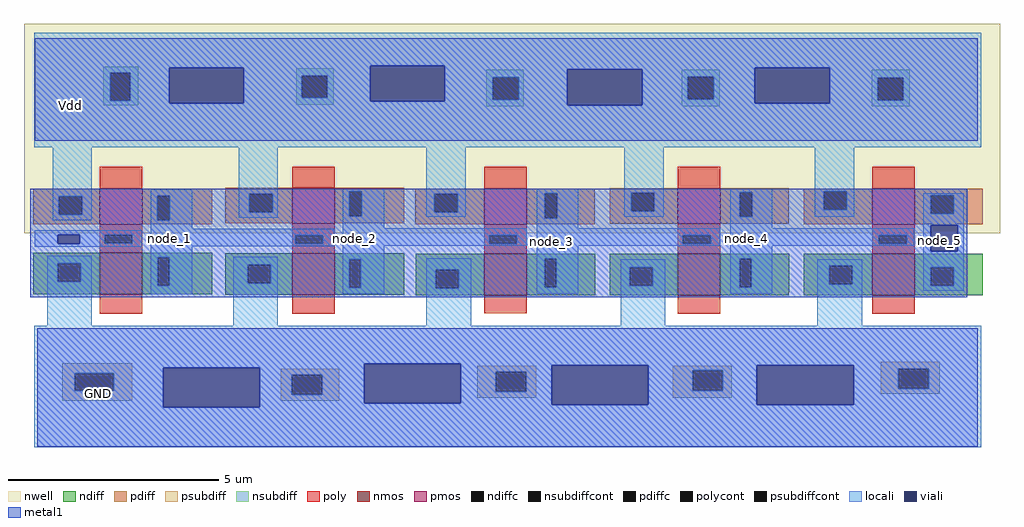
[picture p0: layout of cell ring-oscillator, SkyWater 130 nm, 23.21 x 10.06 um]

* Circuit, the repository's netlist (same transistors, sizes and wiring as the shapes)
* NGSPICE file created from ring-oscillator.ext - technology: sky130A


* Top level circuit ring-oscillator

X0 node_4 node_3 Vdd Vdd sky130_fd_pr__pfet_01v8 w=840000u l=1.01e+06u
X1 node_1 node_5 GND GND sky130_fd_pr__nfet_01v8 w=990000u l=1.01e+06u
X2 node_2 node_1 GND GND sky130_fd_pr__nfet_01v8 w=990000u l=1.01e+06u
X3 node_5 node_4 Vdd Vdd sky130_fd_pr__pfet_01v8 w=840000u l=1.01e+06u
X4 node_3 node_2 Vdd Vdd sky130_fd_pr__pfet_01v8 w=840000u l=1.01e+06u
X5 node_4 node_3 GND GND sky130_fd_pr__nfet_01v8 w=990000u l=1.01e+06u
X6 node_5 node_4 GND GND sky130_fd_pr__nfet_01v8 w=990000u l=1.01e+06u
X7 node_3 node_2 GND GND sky130_fd_pr__nfet_01v8 w=990000u l=1.01e+06u
X8 node_2 node_1 Vdd Vdd sky130_fd_pr__pfet_01v8 w=840000u l=1.01e+06u
X9 node_1 node_5 Vdd Vdd sky130_fd_pr__pfet_01v8 w=840000u l=1.01e+06u
.end

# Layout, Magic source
magic
tech sky130A
<< nwell >>
rect 271 410 2592 908
<< nmos >>
rect 451 265 552 364
rect 909 264 1010 363
rect 1365 263 1466 362
rect 1826 263 1927 362
rect 2288 263 2389 362
<< pmos >>
rect 451 432 552 516
rect 909 434 1010 518
rect 1365 432 1466 516
rect 1826 433 1927 517
rect 2288 432 2389 516
<< ndiff >>
rect 293 339 451 364
rect 293 295 351 339
rect 406 295 451 339
rect 293 265 451 295
rect 552 353 719 364
rect 552 285 589 353
rect 617 285 719 353
rect 552 265 719 285
rect 749 336 909 363
rect 749 292 803 336
rect 858 292 909 336
rect 749 264 909 292
rect 1010 349 1175 363
rect 1010 281 1044 349
rect 1072 281 1175 349
rect 1010 264 1175 281
rect 1203 324 1365 362
rect 1203 280 1250 324
rect 1305 280 1365 324
rect 1203 263 1365 280
rect 1466 350 1629 362
rect 1466 282 1509 350
rect 1537 282 1629 350
rect 1466 263 1629 282
rect 1664 330 1826 362
rect 1664 286 1711 330
rect 1766 286 1826 330
rect 1664 263 1826 286
rect 1927 350 2091 362
rect 1927 282 1973 350
rect 2001 282 2091 350
rect 1927 270 2091 282
rect 2125 333 2288 362
rect 2125 289 2186 333
rect 2241 289 2288 333
rect 1927 263 2090 270
rect 2125 263 2288 289
rect 2389 330 2551 362
rect 2389 286 2427 330
rect 2482 286 2551 330
rect 2389 263 2551 286
<< pdiff >>
rect 293 498 451 516
rect 293 454 354 498
rect 409 454 451 498
rect 293 432 451 454
rect 552 500 719 516
rect 552 441 588 500
rect 618 441 719 500
rect 552 432 719 441
rect 749 504 909 518
rect 749 460 807 504
rect 862 460 909 504
rect 749 434 909 460
rect 1010 510 1175 518
rect 1010 451 1044 510
rect 1074 451 1175 510
rect 1010 434 1175 451
rect 1202 504 1365 516
rect 1202 460 1247 504
rect 1302 460 1365 504
rect 1202 432 1365 460
rect 1466 505 1628 516
rect 1466 446 1509 505
rect 1539 446 1628 505
rect 1466 432 1628 446
rect 1664 507 1826 517
rect 1664 463 1715 507
rect 1770 463 1826 507
rect 1664 433 1826 463
rect 1927 508 2090 517
rect 1927 449 1973 508
rect 2003 449 2090 508
rect 1927 433 2090 449
rect 2125 510 2288 516
rect 2125 466 2173 510
rect 2228 466 2288 510
rect 2125 432 2288 466
rect 2389 501 2551 516
rect 2389 457 2427 501
rect 2482 457 2551 501
rect 2389 432 2551 457
<< ndiffc >>
rect 351 295 406 339
rect 589 285 617 353
rect 803 292 858 336
rect 1044 281 1072 349
rect 1250 280 1305 324
rect 1509 282 1537 350
rect 1711 286 1766 330
rect 1973 282 2001 350
rect 2186 289 2241 333
rect 2427 286 2482 330
<< pdiffc >>
rect 354 454 409 498
rect 588 441 618 500
rect 807 460 862 504
rect 1044 451 1074 510
rect 1247 460 1302 504
rect 1509 446 1539 505
rect 1715 463 1770 507
rect 1973 449 2003 508
rect 2173 466 2228 510
rect 2427 457 2482 501
<< psubdiff >>
rect 362 77 529 101
rect 362 36 392 77
rect 485 36 529 77
rect 362 12 529 36
rect 881 74 1021 88
rect 881 26 908 74
rect 980 26 1021 74
rect 881 12 1021 26
rect 1349 81 1489 95
rect 1349 33 1393 81
rect 1465 33 1489 81
rect 1349 19 1489 33
rect 1814 84 1954 95
rect 1814 36 1861 84
rect 1933 36 1954 84
rect 1814 19 1954 36
rect 2309 88 2449 105
rect 2309 40 2350 88
rect 2422 40 2449 88
rect 2309 29 2449 40
<< nsubdiff >>
rect 460 792 543 806
rect 460 725 476 792
rect 524 725 543 792
rect 460 715 543 725
rect 918 785 1008 803
rect 918 732 931 785
rect 992 732 1008 785
rect 918 716 1008 732
rect 1370 781 1460 799
rect 1370 728 1386 781
rect 1447 728 1460 781
rect 1370 712 1460 728
rect 1835 782 1925 799
rect 1835 729 1850 782
rect 1911 729 1925 782
rect 1835 712 1925 729
rect 2287 780 2377 799
rect 2287 727 2301 780
rect 2362 727 2377 780
rect 2287 712 2377 727
<< psubdiffcont >>
rect 392 36 485 77
rect 908 26 980 74
rect 1393 33 1465 81
rect 1861 36 1933 84
rect 2350 40 2422 88
<< nsubdiffcont >>
rect 476 725 524 792
rect 931 732 992 785
rect 1386 728 1447 781
rect 1850 729 1911 782
rect 2301 727 2362 780
<< poly >>
rect 451 516 552 568
rect 909 518 1010 568
rect 1365 516 1466 569
rect 1826 517 1927 568
rect 451 407 552 432
rect 451 386 463 407
rect 529 386 552 407
rect 451 364 552 386
rect 909 406 1010 434
rect 2288 516 2389 568
rect 909 385 916 406
rect 982 385 1010 406
rect 909 363 1010 385
rect 1365 406 1466 432
rect 1365 385 1377 406
rect 1443 385 1466 406
rect 451 219 552 265
rect 1365 362 1466 385
rect 1826 406 1927 433
rect 1826 385 1838 406
rect 1904 385 1927 406
rect 1826 362 1927 385
rect 2288 406 2389 432
rect 2288 385 2304 406
rect 2370 385 2389 406
rect 2288 362 2389 385
rect 909 219 1010 264
rect 1365 220 1466 263
rect 1826 219 1927 263
rect 2288 219 2389 263
<< polycont >>
rect 463 386 529 407
rect 916 385 982 406
rect 1377 385 1443 406
rect 1838 385 1904 406
rect 2304 385 2370 406
<< locali >>
rect 295 809 2548 887
rect 295 804 1094 809
rect 295 792 616 804
rect 295 725 476 792
rect 524 725 616 792
rect 295 719 616 725
rect 794 785 1094 804
rect 794 732 931 785
rect 992 732 1094 785
rect 794 724 1094 732
rect 1272 804 2548 809
rect 1272 800 2009 804
rect 1272 781 1563 800
rect 1272 728 1386 781
rect 1447 728 1563 781
rect 1272 724 1563 728
rect 794 719 1563 724
rect 295 715 1563 719
rect 1741 782 2009 800
rect 1741 729 1850 782
rect 1911 729 2009 782
rect 1741 719 2009 729
rect 2187 780 2548 804
rect 2187 727 2301 780
rect 2362 727 2548 780
rect 2187 719 2548 727
rect 1741 715 2548 719
rect 295 615 2548 715
rect 339 498 432 615
rect 339 454 354 498
rect 409 454 432 498
rect 339 441 432 454
rect 572 500 671 515
rect 572 441 588 500
rect 618 441 671 500
rect 782 504 875 615
rect 782 460 807 504
rect 862 460 875 504
rect 782 447 875 460
rect 1029 510 1128 516
rect 1029 451 1044 510
rect 1074 451 1128 510
rect 572 421 671 441
rect 1029 422 1128 451
rect 1228 504 1321 615
rect 1228 460 1247 504
rect 1302 460 1321 504
rect 1228 450 1321 460
rect 1490 505 1589 516
rect 1490 446 1509 505
rect 1539 446 1589 505
rect 1699 507 1792 615
rect 1699 463 1715 507
rect 1770 463 1792 507
rect 1699 450 1792 463
rect 1951 508 2050 516
rect 1490 422 1589 446
rect 1951 449 1973 508
rect 2003 449 2050 508
rect 2152 510 2245 615
rect 2152 466 2173 510
rect 2228 466 2245 510
rect 2152 450 2245 466
rect 2410 501 2506 506
rect 2410 457 2427 501
rect 2482 457 2506 501
rect 1951 422 2050 449
rect 2410 429 2506 457
rect 296 407 551 418
rect 296 385 351 407
rect 404 386 463 407
rect 529 386 551 407
rect 404 385 551 386
rect 296 378 551 385
rect 572 406 1009 421
rect 572 385 916 406
rect 982 385 1009 406
rect 572 380 1009 385
rect 1029 406 1466 422
rect 1029 385 1377 406
rect 1443 385 1466 406
rect 1029 381 1466 385
rect 1490 406 1927 422
rect 1490 385 1838 406
rect 1904 385 1927 406
rect 1490 381 1927 385
rect 1951 406 2388 422
rect 1951 385 2304 406
rect 2370 385 2388 406
rect 1951 381 2388 385
rect 326 339 432 357
rect 326 295 351 339
rect 406 295 432 339
rect 326 190 432 295
rect 572 353 671 380
rect 572 285 589 353
rect 617 285 671 353
rect 572 265 671 285
rect 769 336 875 354
rect 769 292 803 336
rect 858 292 875 336
rect 769 190 875 292
rect 1029 349 1128 381
rect 1029 281 1044 349
rect 1072 281 1128 349
rect 1029 266 1128 281
rect 1228 324 1334 351
rect 1228 280 1250 324
rect 1305 280 1334 324
rect 1228 190 1334 280
rect 1490 350 1589 381
rect 1490 282 1509 350
rect 1537 282 1589 350
rect 1951 350 2050 381
rect 1490 266 1589 282
rect 1690 330 1796 348
rect 1690 286 1711 330
rect 1766 286 1796 330
rect 1690 190 1796 286
rect 1951 282 1973 350
rect 2001 282 2050 350
rect 2410 367 2427 429
rect 2492 367 2506 429
rect 1951 266 2050 282
rect 2158 333 2264 348
rect 2158 289 2186 333
rect 2241 289 2264 333
rect 2158 190 2264 289
rect 2410 330 2506 367
rect 2410 286 2427 330
rect 2482 286 2506 330
rect 2410 274 2506 286
rect 295 100 2548 190
rect 295 91 1080 100
rect 295 77 602 91
rect 295 36 392 77
rect 485 36 602 77
rect 295 -3 602 36
rect 832 74 1080 91
rect 832 26 908 74
rect 980 26 1080 74
rect 832 6 1080 26
rect 1310 96 2548 100
rect 1310 81 1526 96
rect 1310 33 1393 81
rect 1465 33 1526 81
rect 1310 6 1526 33
rect 832 2 1526 6
rect 1756 84 2014 96
rect 1756 36 1861 84
rect 1933 36 2014 84
rect 1756 2 2014 36
rect 2244 88 2548 96
rect 2244 40 2350 88
rect 2422 40 2548 88
rect 2244 2 2548 40
rect 832 -3 2548 2
rect 295 -98 2548 -3
<< viali >>
rect 616 719 794 804
rect 1094 724 1272 809
rect 1563 715 1741 800
rect 2009 719 2187 804
rect 351 385 404 407
rect 2427 367 2492 429
rect 602 -3 832 91
rect 1080 6 1310 100
rect 1526 2 1756 96
rect 2014 2 2244 96
<< metal1 >>
rect 297 809 2539 874
rect 297 804 1094 809
rect 297 719 616 804
rect 794 724 1094 804
rect 1272 804 2539 809
rect 1272 800 2009 804
rect 1272 724 1563 800
rect 794 719 1563 724
rect 297 715 1563 719
rect 1741 719 2009 800
rect 2187 719 2539 804
rect 1741 715 2539 719
rect 297 630 2539 715
rect 286 429 2514 516
rect 286 407 2427 429
rect 286 385 351 407
rect 404 385 2427 407
rect 286 367 2427 385
rect 2492 367 2514 429
rect 286 258 2514 367
rect 302 100 2539 185
rect 302 91 1080 100
rect 302 -3 602 91
rect 832 6 1080 91
rect 1310 96 2539 100
rect 1310 6 1526 96
rect 832 2 1526 6
rect 1756 2 2014 96
rect 2244 2 2539 96
rect 832 -3 2539 2
rect 302 -97 2539 -3
<< labels >>
rlabel locali 382 714 382 714 1 Vdd
rlabel locali 447 30 447 30 1 GND
rlabel locali 617 398 617 398 1 node_1
rlabel locali 1058 398 1058 398 1 node_2
rlabel locali 1526 390 1526 390 1 node_3
rlabel locali 1990 398 1990 398 1 node_4
rlabel viali 2447 394 2447 394 1 node_5
<< end >>
